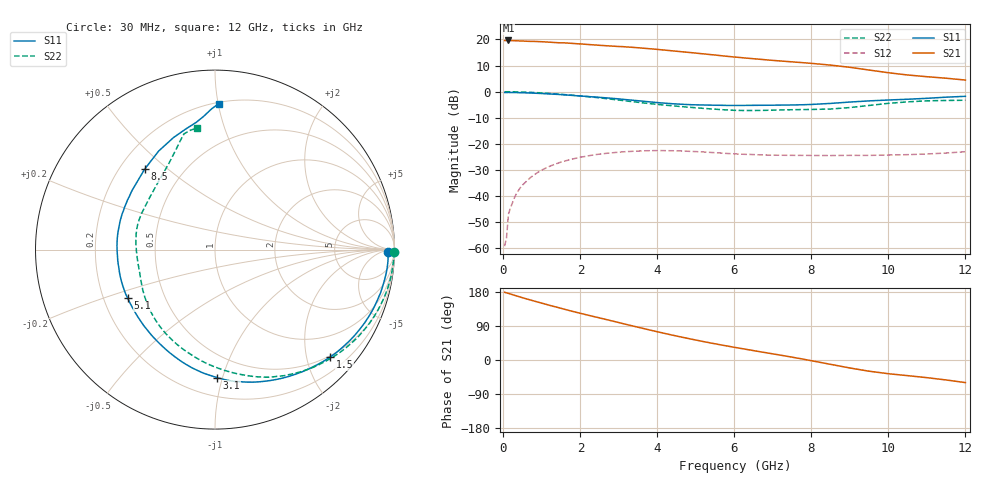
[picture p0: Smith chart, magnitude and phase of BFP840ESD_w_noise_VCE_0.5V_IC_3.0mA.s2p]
! Infineon Technologies  Discrete & RF Semiconductors
! BFP840ESD
! VCE =  0.5 V,  IC =  3.0 mA
! Common Emitter S-Parameters:  May 2012
# GHz  S  MA  R  50
!  f  S11  S21  S12  S22
! GHz  MAG  ANG  MAG  ANG  MAG  ANG  MAG  ANG
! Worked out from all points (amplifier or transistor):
!   93 points, 30 MHz to 12 GHz, reference 50 ohm
!   highest |S21| = 19.6 dB at 130 MHz (marker M1)
!   |S21| within 3 dB of that: start of sweep to 3.661 GHz
!   unconditionally stable (mu >= 1): 6.69 GHz to 11.41 GHz
!   at 1.1 GHz: K = 0.14, MSG = 24.1 dB, |S12| = -29.3 dB
!   at 4.2 GHz: K = 0.48, MSG = 19.2 dB, |S12| = -22.6 dB
!   at 12 GHz: K = 0.86, MSG = 13.7 dB, |S12| = -23.0 dB
!   lowest NFmin = 0.48 dB at 450 MHz
!   S11 on the Smith chart (normalised r, x): 30 MHz: 48, -21; 1.5 GHz: 0.47, -2.45; 3.1 GHz: 0.33, -0.96; 5.1 GHz: 0.30, -0.24; 8.5 GHz: 0.30, +0.42; 12 GHz: 0.21, +1.01
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0.03  0.9657 -0.9  9.528 178.7  0.0011 100.4  0.9962 -0.7
0.08  0.9651 -2.3  9.535 177.2  0.0016 67.4  0.996 -2.3
0.13  0.9659 -3.8  9.559 175.8  0.0045 86.4  0.9965 -3.7
0.38  0.9579 -11.1  9.404 167.9  0.0125 80.4  0.9882 -10.9
0.8  0.9353 -23.2  9.173 155.5  0.0256 70.2  0.9615 -22.9
1.2  0.904 -34.6  8.855 144.2  0.0372 60.9  0.9235 -34.0
1.5  0.8773 -43.1  8.6 136.3  0.045 53.9  0.8895 -42.3
1.7  0.856 -48.9  8.487 130.8  0.0493 49.5  0.8645 -47.8
2.1  0.8165 -60.1  8.102 120.7  0.0571 41.2  0.8136 -58.5
2.6  0.7676 -74.2  7.636 108.5  0.0649 31.2  0.746 -71.8
3.1  0.7131 -89.1  7.278 96.1  0.0704 22.4  0.6761 -85.3
3.5  0.67 -101.3  6.925 86.4  0.0729 15.6  0.6251 -96.7
4.1  0.609 -120.1  6.334 72.2  0.0744 6.2  0.5613 -114.2
4.6  0.5749 -135.9  5.84 61.0  0.0732 -0.7  0.5195 -128.2
5.1  0.557 -150.8  5.377 50.6  0.0705 -6.1  0.4849 -140.9
5.5  0.55 -161.7  5.022 42.7  0.0678 -9.5  0.4617 -150.6
6.1  0.5445 -175.9  4.54 31.7  0.0638 -12.1  0.4381 -164.7
7.5  0.5567 154.9  3.722 7.4  0.0604 -14.5  0.4513 164.8
8.5  0.5956 131.1  3.223 -11.5  0.0598 -15.8  0.4654 141.5
9.5  0.6658 110.3  2.594 -29.6  0.0602 -17.0  0.5444 118.2
10.5  0.7159 98.5  2.085 -41.3  0.0622 -17.2  0.6378 107.6
12  0.8143 88.4  1.668 -59.6  0.0708 -18.6  0.6847 98.6
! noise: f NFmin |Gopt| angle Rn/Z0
0.45  0.48  0.61  2  0.3
0.9  0.49  0.61  7  0.27
1.5  0.53  0.61  19  0.23
1.9  0.58  0.6  21  0.2
2.4  0.61  0.53  33  0.19
3.5  0.68  0.43  58  0.15
5.5  0.87  0.32  116  0.11
8  1.11  0.43  -150  0.06
10  1.33  0.54  -108  0.16
12  1.62  0.59  -85  0.28
